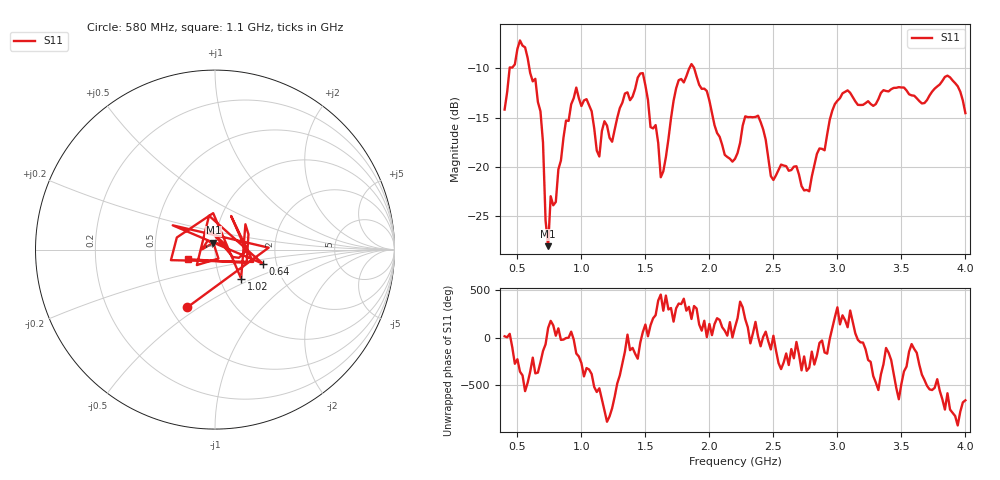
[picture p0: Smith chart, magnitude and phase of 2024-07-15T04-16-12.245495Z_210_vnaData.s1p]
!Created with skrf (http://scikit-rf.org).
# Hz S RI R 50.0
!freq ReS11 ImS11
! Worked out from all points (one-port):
!   181 points, 400 MHz to 4 GHz, reference 50 ohm
!   lowest |S11| = -28.1 dB at 740 MHz (marker M1), VSWR 1.08, Z = 48.9 + j3.77 ohm
!   |S11| at or under -10 dB: start of sweep to 439.3 MHz; 593.7 MHz to 1.843 GHz (1.249 GHz wide, 103 % of centre); 1.881 GHz to end of sweep
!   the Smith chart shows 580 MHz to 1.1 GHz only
!   S11 on the Smith chart (normalised r, x): 580 MHz: 0.61, -0.45; 640 MHz: 1.70, -0.29; 1.02 GHz: 1.26, -0.43; 1.1 GHz: 0.74, -0.08
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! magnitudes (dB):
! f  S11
! 400 MHz  -14.2
! 520 MHz  -7.2
! 580 MHz  -8.9
! 640 MHz  -11.1
! 700 MHz  -17.5
! 720 MHz  -25.4
! 740 MHz  -28.1
! 760 MHz  -23.0
! 800 MHz  -23.6
! 860 MHz  -17.0
! 960 MHz  -12.0
! 1.02 GHz  -13.3
! 1.1 GHz  -16.1
! 1.14 GHz  -19.0
! 1.3 GHz  -14.0
! 1.48 GHz  -10.5
! 1.62 GHz  -21.1
! 1.76 GHz  -11.2
! 1.86 GHz  -9.6
! 2.2 GHz  -19.2
! 2.38 GHz  -14.8
! 2.5 GHz  -21.3
! 2.66 GHz  -20.0
! 2.78 GHz  -22.5
! 3.1 GHz  -12.5
! 3.56 GHz  -12.6
! 3.86 GHz  -10.7
! 4 GHz  -14.5
